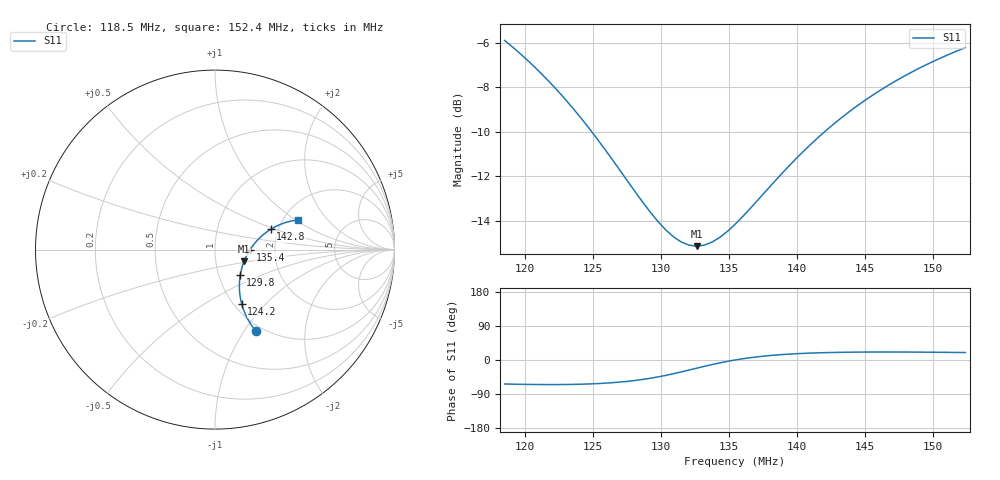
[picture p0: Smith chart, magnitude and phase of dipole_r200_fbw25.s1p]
! Free-space dipole, 1.0 m, 20.0 mm radius
! resonance 135.44 MHz, antenna Q 2.9, fractional bandwidth 25%
! generated with NEC via necpp
# MHZ S MA R 50
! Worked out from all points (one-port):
!   61 points, 118.5 MHz to 152.4 MHz, reference 50 ohm
!   lowest |S11| = -15.2 dB at 132.6 MHz (marker M1), VSWR 1.42, Z = 68.7 - j9.13 ohm
!   |S11| at or under -10 dB: 124.9 MHz to 142 MHz (17.14 MHz wide, 12.8 % of centre)
!   S11 on the Smith chart (normalised r, x): 118.5 MHz: 0.93, -1.13; 124.2 MHz: 1.08, -0.74; 129.8 MHz: 1.27, -0.37; 135.4 MHz: 1.49, +0.00; 142.8 MHz: 1.82, +0.46; 152.4 MHz: 2.39, +1.03
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118.5084  0.5067 -63.3
119.637  0.4738 -64.1
120.7657  0.4401 -64.7
121.8943  0.4061 -64.9
123.023  0.3719 -64.6
124.1516  0.3382 -63.9
125.2803  0.3053 -62.4
126.9733  0.259 -58.3
128.6662  0.2192 -51.3
129.7949  0.1983 -44.5
130.3592  0.19 -40.5
130.9235  0.1834 -36.1
131.4879  0.1786 -31.5
132.0522  0.1757 -26.6
132.6165  0.1747 -21.6
133.1808  0.1757 -16.8
133.7452  0.1784 -12.1
134.3095  0.1828 -7.7
135.4382  0.1956 -0.0
137.6955  0.2322 10.7
139.9528  0.2753 16.6
141.0814  0.2975 18.4
142.7744  0.3304 20.0
144.4674  0.3622 20.8
146.1603  0.3925 21.1
148.4176  0.4301 20.9
150.1106  0.4562 20.5
152.3679  0.4883 19.7
